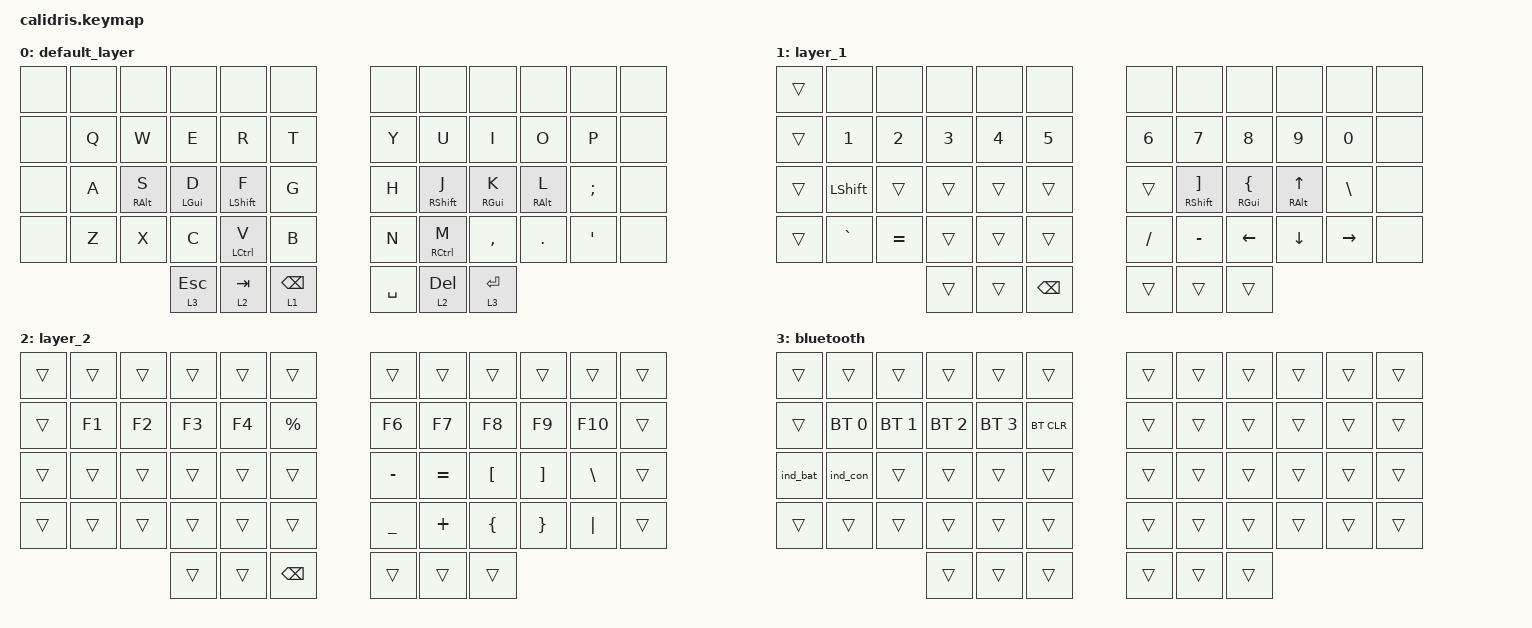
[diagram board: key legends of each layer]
#include <behaviors/rgbled_widget.dtsi>
#include <behaviors.dtsi>
#include <dt-bindings/zmk/bt.h>
#include <dt-bindings/zmk/keys.h>

/ {
    combos {
        compatible = "zmk,combos";

        bluetooth {
            bindings = <&mo 3>;
            key-positions = <41 37>;
        };

        bt2 {
            bindings = <&mo 3>;
            key-positions = <48 53>;
        };
    };

    behaviors {
        hml: hml {
            compatible = "zmk,behavior-hold-tap";
            label = "HOME_ROW_LEFT";
            bindings = <&kp>, <&kp>;

            #binding-cells = <2>;
            hold-trigger-key-positions = <6 7 8 9 10 11 18 19 20 21 22 23 30 31 32 33 34 35 42 43 44 45 46 47>;
            tapping-term-ms = <180>;
            quick-tap-ms = <175>;
            require-prior-idle-ms = <150>;
            flavor = "balanced";
            hold-trigger-on-release;
        };

        hmr: hmr {
            compatible = "zmk,behavior-hold-tap";
            label = "HOME_ROW_RIGHT";
            bindings = <&kp>, <&kp>;

            #binding-cells = <2>;
            tapping-term-ms = <180>;
            quick-tap-ms = <175>;
            require-prior-idle-ms = <150>;
            flavor = "balanced";
            hold-trigger-key-positions = <0 1 2 3 4 5 12 13 14 15 16 17 24 25 26 27 28 29 36 37 38 39 40 41>;
            hold-trigger-on-release;
        };
    };

    keymap {
        compatible = "zmk,keymap";

        default_layer {
            // -----------------------------------------------------------------------------------------
            // |  ESC |  1  |  2  |  3  |  4  |  5  |   |  6  |  7   |  8  |  9  |  0  |  ?   |
            // |  TAB |  Q  |  W  |  E  |  R  |  T  |   |  Y  |  U   |  I  |  O  |  P  | BKSP |
            // | CTRL |  A  |  S  |  D  |  F  |  G  |   |  H  |  J   |  K  |  L  |  ;  |  '   |
            // | SHFT |  Z  |  X  |  C  |  V  |  B  |   |  N  |  M   |  ,  |  .  |  /  | ESC  |
            //                    | GUI | LWR | SPC |   | ENT | RSE  | ALT |

            bindings = <
&none  &none  &none             &none            &none                &none              &none      &none                 &none             &none             &none             &none
&none  &kp Q  &kp W             &kp E            &kp R                &kp T              &kp Y      &kp U                 &kp I             &kp O             &kp P             &none
&none  &kp A  &hml RIGHT_ALT S  &hml LEFT_GUI D  &hml LEFT_SHIFT F    &kp G              &kp H      &hmr RIGHT_SHIFT J    &hmr RIGHT_GUI K  &hmr RIGHT_ALT L  &kp SEMI          &none
&none  &kp Z  &kp X             &kp C            &hml LEFT_CONTROL V  &kp B              &kp N      &hmr RIGHT_CONTROL M  &kp COMMA         &kp DOT           &kp SINGLE_QUOTE  &none
                                &lt 3 ESC        &lt 2 TAB            &lt 1 BACKSPACE    &kp SPACE  &lt 2 DEL             &lt 3 ENTER
            >;
        };

        layer_1 {
            // -----------------------------------------------------------------------------------------
            // |  TAB |  F1 |  F2 |  F3 |  F4 |  F5 |   |  F6 |  F7 |  F8 |  F9 | F10 | BKSP |
            // |  TAB |  1  |  2  |  3  |  4  |  5  |   |  6  |  7  |  8  |  9  |  0  | BKSP |
            // | BTCLR| BT1 | BT2 | BT3 | BT4 | BT5 |   | LFT | DWN |  UP | RGT |     |      |
            // | SHFT |     |     |     |     |     |   |     |     |     |     |     |      |
            //                    | GUI |     | SPC |   | ENT |     | ALT |

            bindings = <
&trans  &none           &none         &none         &none         &none            &none      &none                           &none                      &none                    &none      &none
&trans  &kp NUMBER_1    &kp NUMBER_2  &kp NUMBER_3  &kp NUMBER_4  &kp N5           &kp N6     &kp N7                          &kp N8                     &kp N9                   &kp N0     &none
&trans  &kp LEFT_SHIFT  &trans        &trans        &trans        &trans           &trans     &hmr RIGHT_SHIFT RIGHT_BRACKET  &hmr RIGHT_GUI LEFT_BRACE  &hmr RIGHT_ALT UP_ARROW  &kp BSLH   &none
&trans  &kp GRAVE       &kp EQUAL     &trans        &trans        &trans           &kp SLASH  &kp MINUS                       &kp LEFT                   &kp DOWN                 &kp RIGHT  &none
                                      &trans        &trans        &kp BACKSPACE    &trans     &trans                          &trans
            >;
        };

        layer_2 {
            // -----------------------------------------------------------------------------------------
            // |  TAB |  !  |  @  |  #  |  $  |  %  |   |  ^  |  &  |  *  |  (  |  )  | BKSP |
            // | CTRL |     |     |     |     |     |   |  -  |  =  |  [  |  ]  |  \  |  `   |
            // | SHFT |     |     |     |     |     |   |  _  |  +  |  {  |  }  | "|" |  ~   |
            //                    | GUI |     | SPC |   | ENT |     | ALT |

            bindings = <
&trans  &trans  &trans  &trans  &trans  &trans           &trans     &trans     &trans    &trans    &trans    &trans
&trans  &kp F1  &kp F2  &kp F3  &kp F4  &kp PRCNT        &kp F6     &kp F7     &kp F8    &kp F9    &kp F10   &trans
&trans  &trans  &trans  &trans  &trans  &trans           &kp MINUS  &kp EQUAL  &kp LBKT  &kp RBKT  &kp BSLH  &trans
&trans  &trans  &trans  &trans  &trans  &trans           &kp UNDER  &kp PLUS   &kp LBRC  &kp RBRC  &kp PIPE  &trans
                        &trans  &trans  &kp BACKSPACE    &trans     &trans     &trans
            >;
        };

        bluetooth {
            bindings = <
&trans    &trans        &trans        &trans        &trans        &trans        &trans  &trans  &trans  &trans  &trans  &trans
&trans    &bt BT_SEL 0  &bt BT_SEL 1  &bt BT_SEL 2  &bt BT_SEL 3  &bt BT_CLR    &trans  &trans  &trans  &trans  &trans  &trans
&ind_bat  &ind_con      &trans        &trans        &trans        &trans        &trans  &trans  &trans  &trans  &trans  &trans
&trans    &trans        &trans        &trans        &trans        &trans        &trans  &trans  &trans  &trans  &trans  &trans
                                      &trans        &trans        &trans        &trans  &trans  &trans
            >;
        };
    };
};
